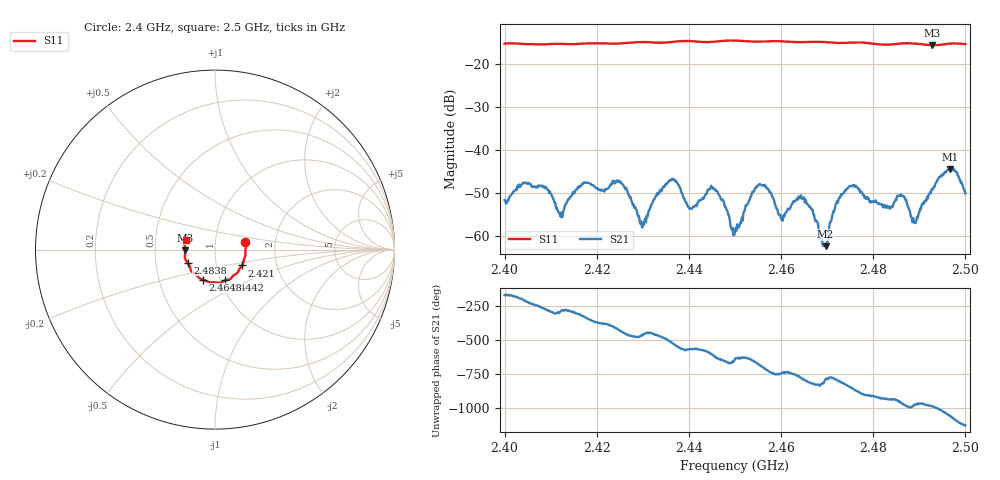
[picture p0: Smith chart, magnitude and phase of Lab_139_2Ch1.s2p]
# Hz S RI R 50
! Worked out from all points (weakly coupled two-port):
!   601 points, 2.4 GHz to 2.5 GHz, reference 50 ohm
!   highest |S21| = -44.41 dB at 2.4967 GHz (marker M1); lowest = -62.3 dB at 2.4697 GHz (marker M2)
!   lowest |S11| = -15.6 dB at 2.4928 GHz (marker M3), VSWR 1.40, Z = 35.8 - j0.347 ohm
!   |S11| at or under -10 dB: start of sweep to end of sweep
!   S12 and S22 are empty: the file has one direction only
!   S11 on the Smith chart (normalised r, x): 2.4 GHz: 1.40, +0.12; 2.421 GHz: 1.33, -0.24; 2.4442 GHz: 1.05, -0.37; 2.4648 GHz: 0.83, -0.29; 2.4838 GHz: 0.73, -0.11; 2.5 GHz: 0.72, +0.08
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2.4e9  0.1679 0.0407  -0.00261 -0.000295  0 0  0 0
2.408e9  0.1683 -0.0171  -0.000494 0.00379  0 0  0 0
2.412167e9  0.1672 -0.0396  0.000552 0.00158  0 0  0 0
2.416667e9  0.1588 -0.0682  0.00313 0.00239  0 0  0 0
2.421e9  0.1502 -0.088  0.00329 -0.00115  0 0  0 0
2.425333e9  0.1349 -0.11  0.000832 -0.00409  0 0  0 0
2.429833e9  0.1251 -0.1297  -0.000404 -0.00119  0 0  0 0
2.433333e9  0.1077 -0.1402  -0.00101 -0.00289  0 0  0 0
2.444167e9  0.0568 -0.1711  -0.00231 0.00261  0 0  0 0
2.45e9  0.0245 -0.1861  0.00012 0.00109  0 0  0 0
2.455167e9  -0.00821 -0.1823  0.00299 0.00261  0 0  0 0
2.460167e9  -0.0363 -0.1802  0.00146 -0.00062  0 0  0 0
2.464833e9  -0.0683 -0.1666  0.00095 -0.00254  0 0  0 0
2.466667e9  -0.08 -0.1627  -0.000289 -0.00202  0 0  0 0
2.469667e9  -0.092 -0.1546  0.000276 -0.000714  0 0  0 0
2.474667e9  -0.12 -0.1302  -0.00178 -0.00327  0 0  0 0
2.483333e9  -0.1503 -0.0761  -0.00174 0.00124  0 0  0 0
2.483833e9  -0.1531 -0.072  -0.00181 0.00123  0 0  0 0
2.489e9  -0.1679 -0.0431  -0.000422 0.0014  0 0  0 0
2.492833e9  -0.1657 -0.00471  -0.000232 0.00345  0 0  0 0
2.496667e9  -0.1703 0.0302  0.00548 0.00249  0 0  0 0
2.5e9  -0.1625 0.0529  0.00222 -0.00222  0 0  0 0
